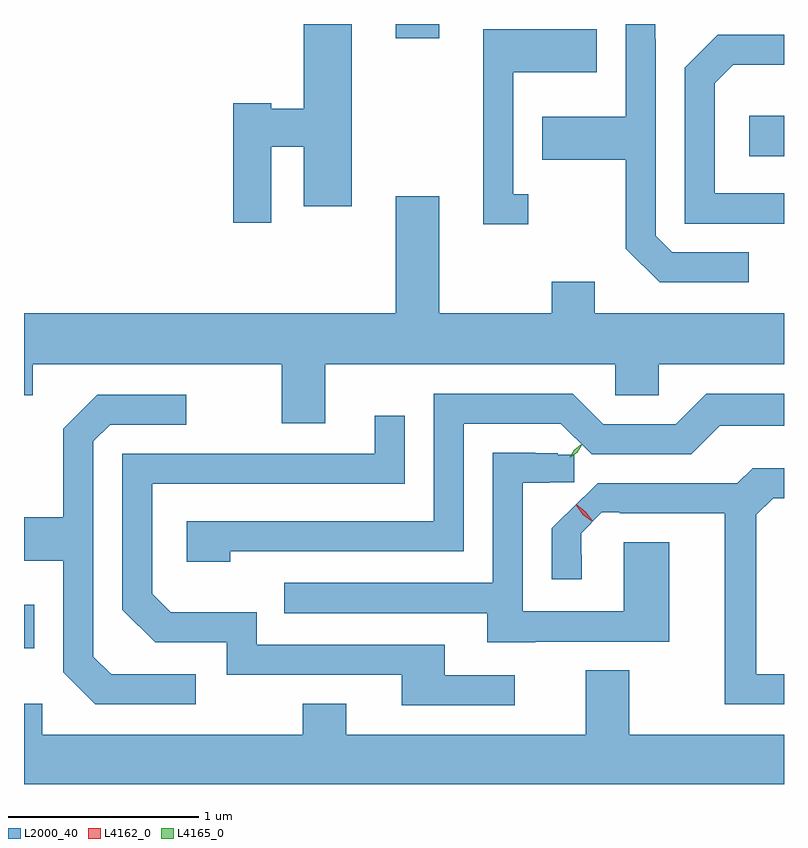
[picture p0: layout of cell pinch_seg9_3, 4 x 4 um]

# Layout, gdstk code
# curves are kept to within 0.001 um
import gdstk
lib = gdstk.Library(unit=1e-6, precision=1e-09)
def R(c, l, rs):  # rectangles x0, y0, x1, y1
    for r in rs: c.add(gdstk.rectangle(r[:2], r[2:], *l))
def P(c, l, *ps):  # polygons
    for p in ps: c.add(gdstk.Polygon(p, *l))
L2000_40 = (2000, 40)
L4162_0 = (4162, 0)
L4165_0 = (4165, 0)

pinch_seg9_3 = lib.new_cell('pinch_seg9_3')
R(pinch_seg9_3, L2000_40, [(1904.354,2001.421,1904.409,2001.649), (1908.171,2004.011,1908.354,2004.224), (1906.311,2004.631,1906.539,2004.706)])
P(pinch_seg9_3, L2000_40, [(1908.168,2003.504),(1907.767,2003.504),(1907.679,2003.592),(1907.679,2004.625),(1907.676,2004.625),(1907.676,2004.706),(1907.521,2004.706),(1907.521,2004.219),(1907.081,2004.219),(1907.081,2003.991),(1907.521,2003.991),(1907.521,2003.524),(1907.699,2003.346),(1908.168,2003.346)],
  [(1905.654,2004.061),(1905.826,2004.061),(1905.826,2003.746),(1906.079,2003.746),(1906.079,2004.706),(1905.826,2004.706),(1905.826,2004.259),(1905.654,2004.259),(1905.654,2004.289),(1905.456,2004.289),(1905.456,2003.661),(1905.654,2003.661)],
  [(1907.008,2003.809),(1906.929,2003.809),(1906.929,2004.451),(1907.369,2004.451),(1907.369,2004.679),(1906.771,2004.679),(1906.771,2003.651),(1907.008,2003.651)],
  [(1908.354,2003.814),(1907.989,2003.814),(1907.989,2004.394),(1908.087,2004.491),(1908.354,2004.491),(1908.354,2004.649),(1908.004,2004.649),(1907.831,2004.477),(1907.831,2003.656),(1908.354,2003.656)],
  [(1905.939,2002.916),(1907.466,2002.916),(1907.466,2002.751),(1907.694,2002.751),(1907.694,2002.916),(1908.354,2002.916),(1908.354,2003.184),(1907.359,2003.184),(1907.359,2003.349),(1907.131,2003.349),(1907.131,2003.184),(1906.539,2003.184),(1906.539,2003.799),(1906.311,2003.799),(1906.311,2003.184),(1904.354,2003.184),(1904.354,2002.751),(1904.399,2002.751),(1904.399,2002.916),(1905.711,2002.916),(1905.711,2002.606),(1905.939,2002.606)],
  [(1905.439,2001.931),(1906.669,2001.931),(1906.669,2002.601),(1907.179,2002.601),(1907.343,2002.441),(1907.867,2002.441),(1908.017,2002.591),(1908.354,2002.591),(1908.354,2002.759),(1907.944,2002.759),(1907.784,2002.599),(1907.402,2002.599),(1907.242,2002.759),(1906.511,2002.759),(1906.511,2002.089),(1905.211,2002.089),(1905.211,2001.876),(1905.439,2001.876)],
  [(1905.258,2001.284),(1904.812,2001.284),(1904.719,2001.377),(1904.719,2002.509),(1904.807,2002.596),(1905.208,2002.596),(1905.208,2002.754),(1904.739,2002.754),(1904.561,2002.577),(1904.561,2002.109),(1904.354,2002.109),(1904.354,2001.881),(1904.561,2001.881),(1904.561,2001.294),(1904.729,2001.126),(1905.258,2001.126)],
  [(1906.938,2001.279),(1906.569,2001.279),(1906.569,2001.439),(1905.579,2001.439),(1905.579,2001.609),(1905.127,2001.609),(1905.029,2001.707),(1905.029,2002.286),(1906.359,2002.286),(1906.359,2002.643),(1906.201,2002.643),(1906.201,2002.444),(1904.871,2002.444),(1904.871,2001.624),(1905.044,2001.451),(1905.421,2001.451),(1905.421,2001.281),(1906.341,2001.281),(1906.341,2001.121),(1906.938,2001.121)],
  [(1907.045,2001.456),(1907.749,2001.456),(1907.749,2001.979),(1907.511,2001.979),(1907.511,2001.614),(1906.979,2001.614),(1906.979,2002.291),(1907.12,2002.291),(1907.12,2002.295),(1907.25,2002.295),(1907.25,2002.439),(1907.164,2002.439),(1907.164,2002.448),(1907.045,2002.448),(1907.045,2002.449),(1906.821,2002.449),(1906.821,2001.764),(1905.723,2001.764),(1905.723,2001.606),(1906.791,2001.606),(1906.791,2001.451),(1907.045,2001.451)],
  [(1908.354,2001.284),(1908.209,2001.284),(1908.209,2002.124),(1908.297,2002.211),(1908.354,2002.211),(1908.354,2002.369),(1908.189,2002.369),(1908.109,2002.289),(1907.374,2002.289),(1907.299,2002.214),(1907.297,2002.216),(1907.131,2002.052),(1907.131,2001.783),(1907.289,2001.783),(1907.289,2001.913),(1907.286,2001.913),(1907.286,2002.025),(1907.395,2002.135),(1907.49,2002.135),(1907.49,2002.131),(1908.041,2002.131),(1908.041,2001.126),(1908.354,2001.126)],
  [(1908.354,2000.964),(1907.539,2000.964),(1907.539,2001.304),(1907.311,2001.304),(1907.311,2000.964),(1906.049,2000.964),(1906.049,2001.129),(1905.821,2001.129),(1905.821,2000.964),(1904.449,2000.964),(1904.449,2001.129),(1904.354,2001.129),(1904.354,2000.706),(1908.354,2000.706)])
P(pinch_seg9_3, L4162_0, [(1907.347,2002.088),(1907.297,2002.126),(1907.26,2002.177),(1907.26,2002.178),(1907.261,2002.178),(1907.311,2002.14),(1907.348,2002.089),(1907.348,2002.088)],
  [(1907.342,2002.088),(1907.294,2002.124),(1907.26,2002.172),(1907.26,2002.173),(1907.261,2002.173),(1907.308,2002.137),(1907.342,2002.089),(1907.342,2002.088)])
P(pinch_seg9_3, L4165_0, [(1907.226,2002.425),(1907.226,2002.426),(1907.249,2002.465),(1907.285,2002.491),(1907.286,2002.491),(1907.286,2002.49),(1907.263,2002.451),(1907.227,2002.425)],
  [(1907.226,2002.422),(1907.226,2002.423),(1907.25,2002.463),(1907.288,2002.491),(1907.289,2002.491),(1907.289,2002.49),(1907.265,2002.45),(1907.227,2002.422)])

lib.write_gds('pinch_seg9_3.gds')
